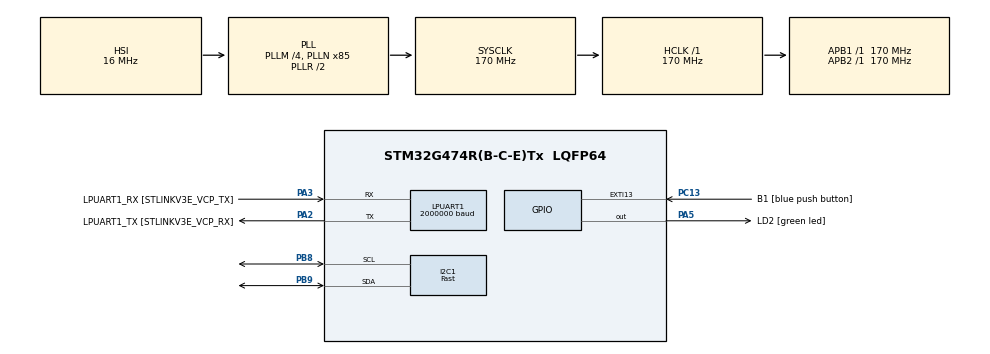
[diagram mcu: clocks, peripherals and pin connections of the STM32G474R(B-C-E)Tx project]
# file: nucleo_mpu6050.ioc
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Dma.LPUART1_RX.1.Direction=DMA_PERIPH_TO_MEMORY
Dma.LPUART1_RX.1.EventEnable=DISABLE
Dma.LPUART1_RX.1.Instance=DMA1_Channel2
Dma.LPUART1_RX.1.MemDataAlignment=DMA_MDATAALIGN_BYTE
Dma.LPUART1_RX.1.MemInc=DMA_MINC_ENABLE
Dma.LPUART1_RX.1.Mode=DMA_CIRCULAR
Dma.LPUART1_RX.1.PeriphDataAlignment=DMA_PDATAALIGN_BYTE
Dma.LPUART1_RX.1.PeriphInc=DMA_PINC_DISABLE
Dma.LPUART1_RX.1.Polarity=HAL_DMAMUX_REQ_GEN_RISING
Dma.LPUART1_RX.1.Priority=DMA_PRIORITY_VERY_HIGH
Dma.LPUART1_RX.1.RequestNumber=1
Dma.LPUART1_RX.1.SignalID=NONE
Dma.LPUART1_RX.1.SyncEnable=DISABLE
Dma.LPUART1_RX.1.SyncPolarity=HAL_DMAMUX_SYNC_NO_EVENT
Dma.LPUART1_RX.1.SyncRequestNumber=1
Dma.LPUART1_RX.1.SyncSignalID=NONE
Dma.LPUART1_TX.0.Direction=DMA_MEMORY_TO_PERIPH
Dma.LPUART1_TX.0.EventEnable=DISABLE
Dma.LPUART1_TX.0.Instance=DMA1_Channel1
Dma.LPUART1_TX.0.MemDataAlignment=DMA_MDATAALIGN_BYTE
Dma.LPUART1_TX.0.MemInc=DMA_MINC_ENABLE
Dma.LPUART1_TX.0.Mode=DMA_NORMAL
Dma.LPUART1_TX.0.PeriphDataAlignment=DMA_PDATAALIGN_BYTE
Dma.LPUART1_TX.0.PeriphInc=DMA_PINC_DISABLE
Dma.LPUART1_TX.0.Polarity=HAL_DMAMUX_REQ_GEN_RISING
Dma.LPUART1_TX.0.Priority=DMA_PRIORITY_VERY_HIGH
Dma.LPUART1_TX.0.RequestNumber=1
Dma.LPUART1_TX.0.SignalID=NONE
Dma.LPUART1_TX.0.SyncEnable=DISABLE
Dma.LPUART1_TX.0.SyncPolarity=HAL_DMAMUX_SYNC_NO_EVENT
Dma.LPUART1_TX.0.SyncRequestNumber=1
Dma.LPUART1_TX.0.SyncSignalID=NONE
Dma.Request0=LPUART1_TX
Dma.Request1=LPUART1_RX
FREERTOS.Tasks01=defaultTask,24,3000,StartDefaultTask,As weak,NULL,Static,defaultTaskBuffer,defaultTaskControlBlock
FREERTOS.configENABLE_FPU=1
I2C1.I2C_Speed_Mode=I2C_Fast
I2C1.Timing=0x40621236
LPUART1.BaudRate=2000000
Mcu.Family=STM32G4
Mcu.Name=STM32G474R(B-C-E)Tx
Mcu.Package=LQFP64
NVIC.DMA1_Channel1_IRQn=true\:5\:0\:false\:false\:true\:true\:false\:true\:true
NVIC.DMA1_Channel2_IRQn=true\:5\:0\:false\:false\:true\:true\:false\:true\:true
NVIC.EXTI15_10_IRQn=true\:5\:0\:false\:false\:true\:true\:true\:true\:true
NVIC.LPUART1_IRQn=true\:5\:0\:false\:false\:true\:true\:true\:true\:true
NVIC.PriorityGroup=NVIC_PRIORITYGROUP_4
NVIC.TIM1_UP_TIM16_IRQn=true\:15\:0\:false\:false\:true\:false\:false\:true\:true
NVIC.TimeBase=TIM1_UP_TIM16_IRQn
NVIC.TimeBaseIP=TIM1
PA13.GPIO_Label=T_SWDIO
PA13.Signal=SYS_JTMS-SWDIO
PA14.GPIO_Label=T_SWCLK
PA14.Signal=SYS_JTCK-SWCLK
PA2.GPIO_Label=LPUART1_TX [STLINKV3E_VCP_RX]
PA2.Mode=Asynchronous
PA2.Signal=LPUART1_TX
PA3.GPIO_Label=LPUART1_RX [STLINKV3E_VCP_TX]
PA3.Mode=Asynchronous
PA3.Signal=LPUART1_RX
PA5.GPIO_Label=LD2 [green led]
PA5.Signal=GPIO_Output
PB3.GPIO_Label=T_SWO
PB3.Signal=SYS_JTDO-SWO
PB8-BOOT0.Mode=I2C
PB8-BOOT0.Signal=I2C1_SCL
PB9.Mode=I2C
PB9.Signal=I2C1_SDA
PC13.GPIO_Label=B1 [blue push button]
PC13.Signal=GPXTI13
PC14-OSC32_IN.GPIO_Label=RCC_OSC32_IN
PC14-OSC32_IN.Signal=RCC_OSC32_IN
PC15-OSC32_OUT.GPIO_Label=RCC_OSC32_OUT
PC15-OSC32_OUT.Signal=RCC_OSC32_OUT
PF0-OSC_IN.GPIO_Label=RCC_OSC_IN
PF0-OSC_IN.Signal=RCC_OSC_IN
PF1-OSC_OUT.GPIO_Label=RCC_OSC_OUT
PF1-OSC_OUT.Signal=RCC_OSC_OUT
ProjectManager.HeapSize=0x200
ProjectManager.StackSize=0x400
ProjectManager.TargetToolchain=STM32CubeIDE
RCC.ADC12Freq_Value=170000000
RCC.ADC345Freq_Value=170000000
RCC.AHBFreq_Value=170000000
RCC.APB1Freq_Value=170000000
RCC.APB1TimFreq_Value=170000000
RCC.APB2Freq_Value=170000000
RCC.APB2TimFreq_Value=170000000
RCC.CortexFreq_Value=170000000
RCC.EXTERNAL_CLOCK_VALUE=12288000
RCC.HCLKFreq_Value=170000000
RCC.HSE_VALUE=24000000
RCC.HSI48_VALUE=48000000
RCC.HSI_VALUE=16000000
RCC.LSE_VALUE=32768
RCC.PLLM=RCC_PLLM_DIV4
RCC.PLLN=85
RCC.RTCClockSelection=RCC_RTCCLKSOURCE_LSE
RCC.SYSCLKFreq_VALUE=170000000
RCC.SYSCLKSource=RCC_SYSCLKSOURCE_PLLCLK
RCC.USBFreq_Value=170000000
RCC.VCOOutputFreq_Value=340000000
VP_FREERTOS_VS_CMSIS_V2.Mode=CMSIS_V2
VP_SYS_VS_DBSignals.Mode=DisableDeadBatterySignals
VP_SYS_VS_tim1.Mode=TIM1
board=NUCLEO-G474RE

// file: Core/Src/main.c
/* USER CODE BEGIN Header */
/**
 ******************************************************************************
 * @file           : main.c
 * @brief          : Main program body
 ******************************************************************************
 * @attention
 *
 * Copyright (c) 2024 STMicroelectronics.
 * All rights reserved.
 *
 * This software is licensed under terms that can be found in the LICENSE file
 * in the root directory of this software component.
 * If no LICENSE file comes with this software, it is provided AS-IS.
 *
 ******************************************************************************
 */
/* USER CODE END Header */
#include "main.h"
#include "cmsis_os.h"
#include "dma.h"
#include "i2c.h"
#include "usart.h"
#include "gpio.h"

/* USER CODE BEGIN Includes */
#include <rcl/rcl.h>
#include <rcl/error_handling.h>
#include <rclc/rclc.h>
#include <rclc/executor.h>
#include <uxr/client/transport.h>
#include <rmw_microxrcedds_c/config.h>
#include <rmw_microros/rmw_microros.h>
#include <rcl/init_options.h>
#include <micro_ros_utilities/string_utilities.h>
#include <sensor_msgs/msg/imu.h>
#include <math.h>
#include <imu_custom_msg/srv/get_status.h>
#include <geometry_msgs/msg/twist.h>

#include <mpu6050.h>
#include <imu_custom_msg/srv/calibrate.h>

#include <std_msgs/msg/int32.h>
/* USER CODE END Includes */

/* USER CODE BEGIN PD */
#define G2M_S2 9.81
#define DEG2RAD M_PI / 180.0
#define RAD2DEG 180.0 / M_PI

#define MPU6050_ADDR     (0x68 << 1)  // Shifted left by 1 for STM32 HAL
#define WHO_AM_I_REG     0x75         // WHO_AM_I register address
/* USER CODE END PD */

/* USER CODE BEGIN PV */
rclc_support_t support;
rcl_allocator_t allocator;
rcl_node_t node;
rcl_timer_t mpu6050_timer;
rcl_publisher_t mpu6050_publisher;
sensor_msgs__msg__Imu mpu6050_msg;
rclc_executor_t executor;
MPU6050_t MPU6050;

rcl_service_t status_service;
rcl_service_t calibrate_service;

imu_custom_msg__srv__GetStatus_Request request_msg;
imu_custom_msg__srv__GetStatus_Response response_msg;

imu_custom_msg__srv__Calibrate_Request calibrate_request_msg;
imu_custom_msg__srv__Calibrate_Response calibrate_response_msg;

std_msgs__msg__Float64MultiArray request_arr;

rcl_publisher_t gazebo_vel_publisher;
rcl_publisher_t vel_publisher;
geometry_msgs__msg__Twist twist_msg;
geometry_msgs__msg__Twist gazebo_twist_msg;

uint8_t register_value;
HAL_StatusTypeDef ret;

float process_roll_error = 0.098033;
float process_pitch_error = 0.113961;
float measure_roll_error = 0.042646;
float measure_pitch_error = 0.08; //0.033375;

float dt = 0.01;
double x[3] = { 0.0, 0.0, 0.0 };
double u[3] = { 0.0, 0.0, 0.0 };
double p[2] = { pow(2, 2), pow(2, 2) };
double r_roll;
double r_pitch;
double p_roll;
double p_pitch;

/* USER CODE END PV */

void SystemClock_Config(void);
void MX_FREERTOS_Init(void);
/* USER CODE BEGIN PFP */
bool cubemx_transport_open(struct uxrCustomTransport *transport);
bool cubemx_transport_close(struct uxrCustomTransport *transport);
size_t cubemx_transport_write(struct uxrCustomTransport *transport,
		const uint8_t *buf, size_t len, uint8_t *err);
size_t cubemx_transport_read(struct uxrCustomTransport *transport, uint8_t *buf,
		size_t len, int timeout, uint8_t *err);

void* microros_allocate(size_t size, void *state);
void microros_deallocate(void *pointer, void *state);
void* microros_reallocate(void *pointer, size_t size, void *state);
void* microros_zero_allocate(size_t number_of_elements, size_t size_of_element,
		void *state);

void service_callback(const void *request_msg, void *response_msg);
void update_vel();
void read_register();
/* USER CODE END PFP */

/* USER CODE BEGIN 0 */

void timer_callback(rcl_timer_t *timer, int64_t last_call_time) {

	if (timer != NULL) {
		MPU6050_Read_All(&hi2c1, &MPU6050);

		mpu6050_msg.header.stamp.sec = rmw_uros_epoch_millis() / 1000;
		mpu6050_msg.header.stamp.nanosec = rmw_uros_epoch_nanos() / 1000;

//		mpu6050_msg.linear_acceleration.x = G2M_S2 * MPU6050.Ax;
//		mpu6050_msg.linear_acceleration.y = G2M_S2 * MPU6050.Ay;
//		mpu6050_msg.linear_acceleration.z = G2M_S2 * MPU6050.Az;
//		mpu6050_msg.angular_velocity.x = DEG2RAD * MPU6050.Gx;
//		mpu6050_msg.angular_velocity.y = DEG2RAD * MPU6050.Gy;
//		mpu6050_msg.angular_velocity.z = DEG2RAD * MPU6050.Gz;

		mpu6050_msg.linear_acceleration.x = G2M_S2 * MPU6050.Ax
				- 1.066469;
		mpu6050_msg.linear_acceleration.y = G2M_S2 * MPU6050.Ay
				- -0.050949;
		mpu6050_msg.linear_acceleration.z = G2M_S2 * MPU6050.Az
				- 1.663030;

		mpu6050_msg.angular_velocity.x = DEG2RAD * MPU6050.Gx
				- (-0.007206);
		mpu6050_msg.angular_velocity.y = DEG2RAD * MPU6050.Gy
				- (-0.003486);
		mpu6050_msg.angular_velocity.z = DEG2RAD * MPU6050.Gz
				- (0.031661);

		float Ax = mpu6050_msg.linear_acceleration.x;
		float Ay = mpu6050_msg.linear_acceleration.y;
		float Az = mpu6050_msg.linear_acceleration.z;

		u[0] = mpu6050_msg.angular_velocity.x;
		u[1] = mpu6050_msg.angular_velocity.y;

		float angleRoll = atan2(Ay, hypot(Ax, Az));
		float anglePitch = atan2(-Ax, hypot(Ay, Az));

		//predict
		float future_roll = x[0] + dt * u[0];
		float future_pitch = x[1] + dt * u[1];

		float future_P_roll = p[0] + (pow(dt, 2) * p_roll);
		float future_P_pitch = p[1] + (pow(dt, 2) * p_pitch);

		//kalman gain update
		float K_roll = future_P_roll / (future_P_roll + r_roll);
		float K_pitch = future_P_pitch / (future_P_pitch + r_pitch);

		//fusion state update
		if (abs(angleRoll) > 1.3) {
			K_roll = 0;
		}

		x[0] = future_roll + K_roll * (angleRoll - future_roll);
		x[1] = future_pitch + K_pitch * (anglePitch - future_pitch);

		//p update
		p[0] = (1 - K_roll) * p[0];
		p[1] = (1 - K_pitch) * p[1];

		mpu6050_msg.orientation.x = x[0];
		mpu6050_msg.orientation.y = x[1];
		mpu6050_msg.orientation.z = angleRoll;

		update_vel();

		rcl_publish(&mpu6050_publisher, &mpu6050_msg, NULL);

	}
}

void service_callback(const void *request_msg, void *response_msg) {

	imu_custom_msg__srv__GetStatus_Response *response =
			(imu_custom_msg__srv__GetStatus_Response*) response_msg;

	read_register();
	if(ret == 0){
		response->status.data = true;
	}
	else{
		response->status.data = false;
	}

}

void calibrate_service_callback(const void *req_msg, void *res_msg) {
    const imu_custom_msg__srv__Calibrate_Request *req = (const imu_custom_msg__srv__Calibrate_Request *) req_msg;
    imu_custom_msg__srv__Calibrate_Response *res = (imu_custom_msg__srv__Calibrate_Response *) res_msg;

    // Set the response
    res->success.data = true;
}

void StartDefaultTask(void *argument) {
	/* USER CODE BEGIN 5 */

	// micro-ROS configuration
	rmw_uros_set_custom_transport(
	true, (void*) &hlpuart1, cubemx_transport_open, cubemx_transport_close,
			cubemx_transport_write, cubemx_transport_read);

	rcl_allocator_t freeRTOS_allocator =
			rcutils_get_zero_initialized_allocator();
	freeRTOS_allocator.allocate = microros_allocate;
	freeRTOS_allocator.deallocate = microros_deallocate;
	freeRTOS_allocator.reallocate = microros_reallocate;
	freeRTOS_allocator.zero_allocate = microros_zero_allocate;

	if (!rcutils_set_default_allocator(&freeRTOS_allocator)) {
		printf("Error on default allocators (line %d)\n", __LINE__);
	}

	// micro-ROS app
	allocator = rcl_get_default_allocator();

	//create init_options
	rcl_init_options_t init_options = rcl_get_zero_initialized_init_options();
	rcl_init_options_init(&init_options, allocator);
	rcl_init_options_set_domain_id(&init_options, 69);

	rclc_support_init_with_options(&support, 0, NULL, &init_options,
			&allocator);

	// create node
	rclc_node_init_default(&node, "cubemx_node", "", &support);
	rmw_uros_sync_session(1000);

	// create timer
	rclc_timer_init_default(&mpu6050_timer, &support, RCL_MS_TO_NS(10),
			timer_callback);

	//create publisher
	rclc_publisher_init_best_effort(&mpu6050_publisher, &node,
			ROSIDL_GET_MSG_TYPE_SUPPORT(sensor_msgs, msg, Imu),
			"mpu6050_publisher");

	//create header
	mpu6050_msg.header.frame_id = micro_ros_string_utilities_init("imu_frame");

	//imu_status
	rclc_service_init_default(&status_service, &node,
			ROSIDL_GET_SRV_TYPE_SUPPORT(imu_custom_msg, srv, GetStatus),
			"imu/status");

	rclc_service_init_default(&calibrate_service, &node,
				ROSIDL_GET_SRV_TYPE_SUPPORT(imu_custom_msg, srv, Calibrate),
				"imu/calibrate");

	//cmd_vel publisher
	rclc_publisher_init_default(&vel_publisher,
			&node,
			ROSIDL_GET_MSG_TYPE_SUPPORT(geometry_msgs, msg, Twist),
			"cmd_vel");

	rclc_publisher_init_default(&gazebo_vel_publisher,
				&node,
				ROSIDL_GET_MSG_TYPE_SUPPORT(geometry_msgs, msg, Twist),
				"gazebo/cmd_vel");

	//create executor
	executor = rclc_executor_get_zero_initialized_executor();
	rclc_executor_init(&executor, &support.context, 2, &allocator);
	rclc_executor_add_timer(&executor, &mpu6050_timer);
	rclc_executor_add_service(&executor, &status_service, &request_msg, &response_msg, service_callback);
	rclc_executor_add_service(&executor, &calibrate_service, &calibrate_request_msg, &calibrate_response_msg, calibrate_service_callback);
	rclc_executor_spin(&executor);

	for (;;) {
		osDelay(10);
	}
	/* USER CODE END 5 */
}
/* USER CODE END 0 */

int main(void)
{

  /* USER CODE BEGIN 1 */
	r_roll = pow(measure_roll_error, 2);
	r_pitch = pow(measure_pitch_error, 2);
	p_roll = pow(2, 2);
	p_pitch = pow(2, 2);

  /* USER CODE END 1 */

  /* MCU Configuration--------------------------------------------------------*/

  /* Reset of all peripherals, Initializes the Flash interface and the Systick. */
  HAL_Init();

  /* Configure the system clock */
  SystemClock_Config();

  /* Initialize all configured peripherals */
  MX_GPIO_Init();
  MX_DMA_Init();
  MX_LPUART1_UART_Init();
  MX_I2C1_Init();
  /* USER CODE BEGIN 2 */
	while (MPU6050_Init(&hi2c1) == 1)
		;
  /* USER CODE END 2 */

  /* Init scheduler */
  osKernelInitialize();

  /* Call init function for freertos objects (in cmsis_os2.c) */
  MX_FREERTOS_Init();

  /* Start scheduler */
  osKernelStart();

  /* We should never get here as control is now taken by the scheduler */

  /* Infinite loop */
	while (1) {

	}
}

void SystemClock_Config(void)
{
  RCC_OscInitTypeDef RCC_OscInitStruct = {0};
  RCC_ClkInitTypeDef RCC_ClkInitStruct = {0};

  /** Configure the main internal regulator output voltage
  */
  HAL_PWREx_ControlVoltageScaling(PWR_REGULATOR_VOLTAGE_SCALE1_BOOST);

  /** Initializes the RCC Oscillators according to the specified parameters
  * in the RCC_OscInitTypeDef structure.
  */
  RCC_OscInitStruct.OscillatorType = RCC_OSCILLATORTYPE_HSI;
  RCC_OscInitStruct.HSIState = RCC_HSI_ON;
  RCC_OscInitStruct.HSICalibrationValue = RCC_HSICALIBRATION_DEFAULT;
  RCC_OscInitStruct.PLL.PLLState = RCC_PLL_ON;
  RCC_OscInitStruct.PLL.PLLSource = RCC_PLLSOURCE_HSI;
  RCC_OscInitStruct.PLL.PLLM = RCC_PLLM_DIV4;
  RCC_OscInitStruct.PLL.PLLN = 85;
  RCC_OscInitStruct.PLL.PLLP = RCC_PLLP_DIV2;
  RCC_OscInitStruct.PLL.PLLQ = RCC_PLLQ_DIV2;
  RCC_OscInitStruct.PLL.PLLR = RCC_PLLR_DIV2;
  if (HAL_RCC_OscConfig(&RCC_OscInitStruct) != HAL_OK)
  {
    Error_Handler();
  }

  /** Initializes the CPU, AHB and APB buses clocks
  */
  RCC_ClkInitStruct.ClockType = RCC_CLOCKTYPE_HCLK|RCC_CLOCKTYPE_SYSCLK
                              |RCC_CLOCKTYPE_PCLK1|RCC_CLOCKTYPE_PCLK2;
  RCC_ClkInitStruct.SYSCLKSource = RCC_SYSCLKSOURCE_PLLCLK;
  RCC_ClkInitStruct.AHBCLKDivider = RCC_SYSCLK_DIV1;
  RCC_ClkInitStruct.APB1CLKDivider = RCC_HCLK_DIV1;
  RCC_ClkInitStruct.APB2CLKDivider = RCC_HCLK_DIV1;

  if (HAL_RCC_ClockConfig(&RCC_ClkInitStruct, FLASH_LATENCY_4) != HAL_OK)
  {
    Error_Handler();
  }
}

/* USER CODE BEGIN 4 */
void update_vel(){
	float scale_factor = 5.0/90.0;

	twist_msg.linear.x = x[1] * RAD2DEG * scale_factor;
	twist_msg.angular.z = -1 * x[0] * RAD2DEG *scale_factor;

	rcl_publish(&vel_publisher, &twist_msg, NULL);

	gazebo_twist_msg.linear.x = x[1] * RAD2DEG * scale_factor *0.05;
	gazebo_twist_msg.linear.y = -1 * x[0] * RAD2DEG *scale_factor *0.05;

	rcl_publish(&gazebo_vel_publisher, &gazebo_twist_msg, NULL);

}

void read_register() {

    // Read 1 byte from the register
    ret = HAL_I2C_Mem_Read(&hi2c1, MPU6050_ADDR, WHO_AM_I_REG, I2C_MEMADD_SIZE_8BIT, &register_value, 1, HAL_MAX_DELAY);

    if (ret == HAL_OK) {
        // Successfully read, print or process `register_value`
        printf("Register Value: 0x%02X\n", register_value);
    } else {
        // Error handling
        printf("I2C Read Error\n");
    }
}
/* USER CODE END 4 */

void HAL_TIM_PeriodElapsedCallback(TIM_HandleTypeDef *htim)
{
  if (htim->Instance == TIM1) {
    HAL_IncTick();
  }
}

void Error_Handler(void)
{
	__disable_irq();
	while (1) {
	}
}
